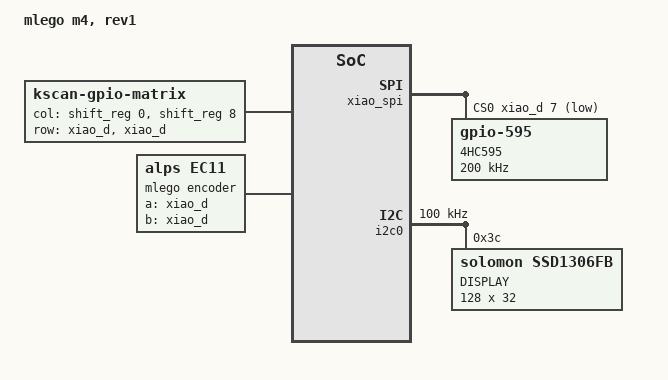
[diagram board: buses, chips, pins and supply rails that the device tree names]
/*
 * Copyright (c) 2022 alin m elena
 * SPDX-License-Identifier: MIT
 */

#include <dt-bindings/zmk/matrix_transform.h>
#include <dt-bindings/led/led.h>

/ {
   model = "mlego m4, rev1";
   compatible = "mlego", "seeduino,xiao_ble";

   chosen {
     zmk,kscan = &kscan;
     zephyr,display = &oled;
     /*
     zmk,led-capslock = &led_capslock;
     zmk,led-widgets-dev = &leds_i;
     */
   };

   kscan: kscan {
     compatible = "zmk,kscan-gpio-matrix";
     label = "kscan";
     diode-direction = "col2row";
     col-gpios = <&shift_reg 0 (GPIO_ACTIVE_HIGH)>
                 , <&shift_reg 8 (GPIO_ACTIVE_HIGH)>
                 ;
     row-gpios = <&xiao_d 0(GPIO_ACTIVE_HIGH | GPIO_PULL_DOWN)>
                 ,<&xiao_d 3(GPIO_ACTIVE_HIGH | GPIO_PULL_DOWN)>
                 ;
   };
   mlego_encoder: mlego_encoder {
     compatible = "alps,ec11";
     label = "mlego encoder";
     a-gpios = <&xiao_d 1(GPIO_ACTIVE_HIGH | GPIO_PULL_UP)>;
     b-gpios = <&xiao_d 2(GPIO_ACTIVE_HIGH | GPIO_PULL_UP)>;
     resolution = <4>;
   };

   sensors {
     compatible = "zmk,keymap-sensors";
     sensors = <&mlego_encoder>;
   };
/*
    led_indicators {
        compatible = "gpio-leds";
        label = "LED indicators";
        led_capslock: led_capslock {
            gpios = <&gpio0 26 GPIO_ACTIVE_LOW>;
            label = "Caps lock LED";
        };
    };

   leds_i: leds_i {
     compatible = "pwm-leds";
     label = "leds layers";
     red_led: led_r {
       pwms = <&pwm0 6>;
       label = "red";
     };
     green_led: led_g {
       pwms = <&pwm0 30>;
       label = "green";
     };
     blue_led: led_b {
       pwms = <&pwm0 26>;
       label = "blue";
     };
   };

   led-widgets {
        compatible = "zmk,led-widgets";
        boot {
            boot {
                priority = <100>;
                blue { len-ms = <100>; brightness = <0 0 50>; };
                off { len-ms = <100>; };
                blue2 { len-ms = <100>; brightness = <0 0 50>; };
            };
        };
        layer {
            lower {
                arg = <1>;
                priority = <20>;
                stat { brightness = <0 0 20>; };
            };
            raise {
                arg = <2>;
                priority = <20>;
                stat { brightness = <0 20 0>; };
            };
            adjust {
                arg = <3>;
                priority = <20>;
                stat { brightness = <20 0 0>; };
            };
        };
   };
*/
};

/*
&pwm0 {
    status = "okay";
    ch0-pin = <26>;
    ch1-pin = <30>;
    ch2-pin = <6>;
    ch0-inverted;
    ch1-inverted;
    ch2-inverted;
};
*/
&mlego_encoder { 
  status = "okay"; 
};

&xiao_spi {
  status = "okay";

  cs-gpios = <&xiao_d 7 GPIO_ACTIVE_LOW>, <&xiao_d 6 GPIO_ACTIVE_HIGH>;
  shift_reg: 595@0 {
    compatible = "zmk,gpio-595";
    status = "okay";
    gpio-controller;
    spi-max-frequency = <200000>;
    #gpio-cells = <2>;
    reg = <0>;
    label = "4HC595";
    ngpios = <16>;
  };
};

&xiao_serial { 
  status = "disabled"; 
};

&i2c0 {
  status = "okay";
  clock-frequency = <I2C_BITRATE_STANDARD>;

  oled: ssd1306@3c {
    compatible = "solomon,ssd1306fb";
    reg = <0x3c>;
    label = "DISPLAY";
    width = <0x80>;
    height = <0x20>;
    segment-offset = <0x0>;
    page-offset = <0x0>;
    display-offset = <0x0>;
    multiplex-ratio = <0x1f>;
    com-sequential;
    prechargep = <0x22>;
  };
};
